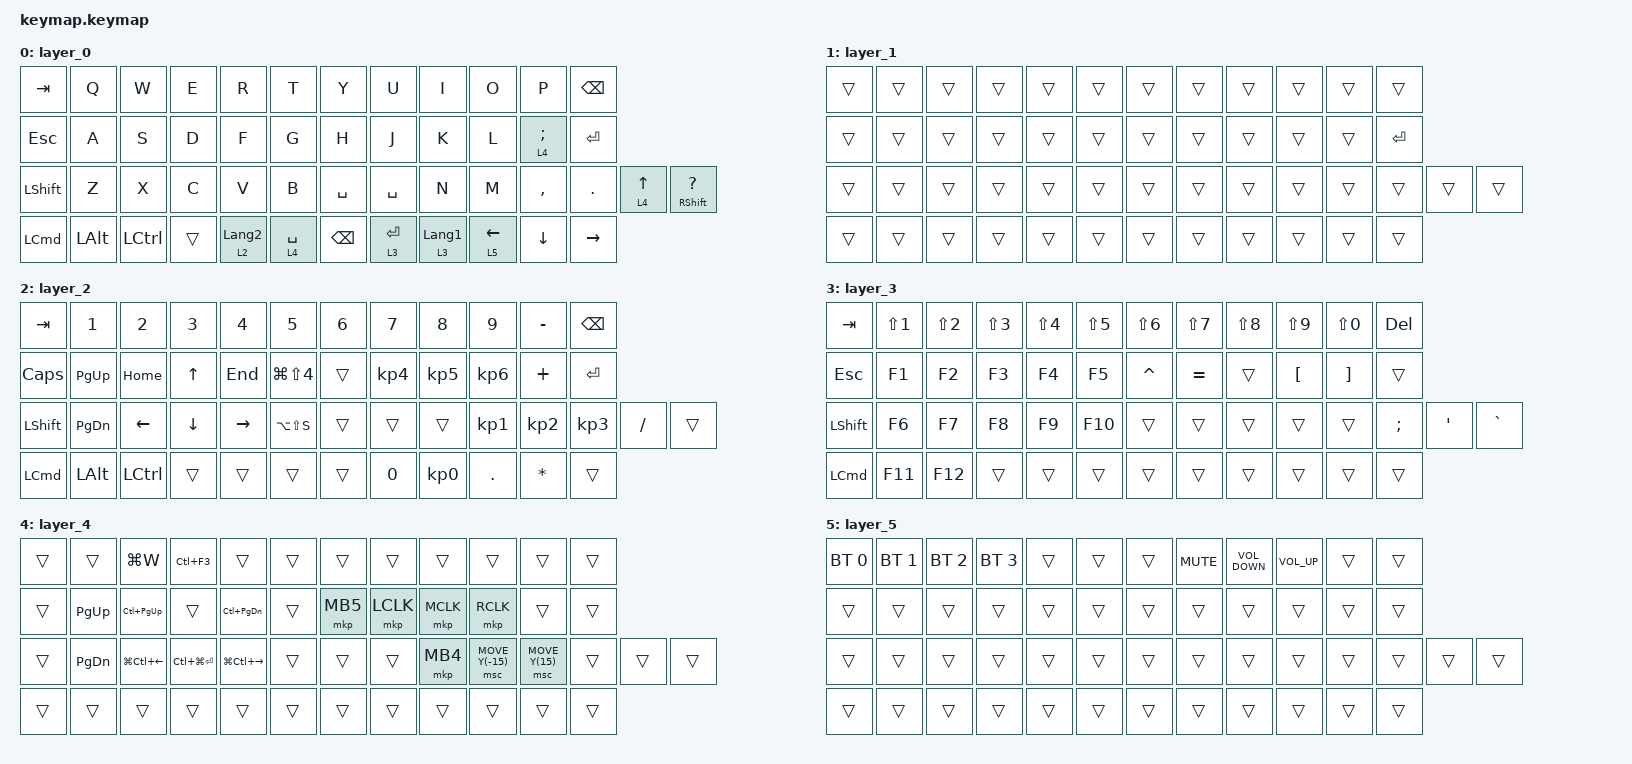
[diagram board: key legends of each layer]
#include <behaviors.dtsi>
#include <dt-bindings/zmk/bt.h>
#include <dt-bindings/zmk/keys.h>
#include <dt-bindings/zmk/pointing.h>

/ {
    combos {
        compatible = "zmk,combos";

        bt_clear {
            bindings = <&bt BT_CLR>;
            key-positions = <28 29>;
            layers = <2>;
        };

        left_Click {
            bindings = <&mkp LCLK>;
            key-positions = <19 20>;
        };

        right_Click {
            bindings = <&mkp RCLK>;
            key-positions = <20 21>;
        };

        middle_Click {
            bindings = <&mkp MCLK>;
            key-positions = <19 20 21>;
        };

        next_Click {
            bindings = <&mkp MB5>;
            key-positions = <33 34>;
        };

        prev_Click {
            bindings = <&mkp MB4>;
            key-positions = <34 35>;
        };
    };

    behaviors {
        layer_tap: layer_tap {
            compatible = "zmk,behavior-hold-tap";
            label = "LAYER_TAP";
            bindings = <&mo>, <&kp>;

            #binding-cells = <2>;
            tapping-term-ms = <200>;
        };

        MSC_kp: MSC_kp {
            compatible = "zmk,behavior-hold-tap";
            label = "MSC_KP";
            bindings = <&msc>, <&kp>;

            #binding-cells = <2>;
            tapping-term-ms = <200>;
        };
    };

    keymap {
        compatible = "zmk,keymap";

        layer_0 {
            bindings = <
&kp TAB           &kp Q         &kp W      &kp E   &kp R                    &kp T               &kp Y          &kp U               &kp I                    &kp O              &kp P                   &kp BSPC
&kp ESC           &kp A         &kp S      &kp D   &kp F                    &kp G               &kp H          &kp J               &kp K                    &kp L              &layer_tap 4 SEMICOLON  &kp ENTER
&kp LSHFT         &kp Z         &kp X      &kp C   &kp V                    &kp B               &kp SPACE      &kp SPACE           &kp N                    &kp M              &kp COMMA               &kp DOT          &layer_tap 4 UP_ARROW  &mt RSHFT QUESTION
&kp LEFT_COMMAND  &kp LEFT_ALT  &kp LCTRL  &trans  &layer_tap 2 LANGUAGE_2  &layer_tap 4 SPACE  &kp BACKSPACE  &layer_tap 3 ENTER  &layer_tap 3 LANGUAGE_1  &layer_tap 5 LEFT  &kp DOWN_ARROW          &kp RIGHT_ARROW
            >;
        };

        layer_1 {
            bindings = <
&trans  &trans  &trans  &trans  &trans  &trans  &trans  &trans  &trans  &trans  &trans  &trans
&trans  &trans  &trans  &trans  &trans  &trans  &trans  &trans  &trans  &trans  &trans  &kp ENTER
&trans  &trans  &trans  &trans  &trans  &trans  &trans  &trans  &trans  &trans  &trans  &trans     &trans  &trans
&trans  &trans  &trans  &trans  &trans  &trans  &trans  &trans  &trans  &trans  &trans  &trans
            >;
        };

        layer_2 {
            bindings = <
&kp TAB           &kp NUMBER_1  &kp NUMBER_2      &kp NUMBER_3    &kp NUMBER_4  &kp NUMBER_5          &kp NUMBER_6  &kp N7        &kp N8     &kp N9     &kp MINUS     &kp BACKSPACE
&kp CAPS          &kp PG_UP     &kp HOME          &kp UP_ARROW    &kp END       &kp LG(LS(NUMBER_4))  &trans        &kp KP_N4     &kp KP_N5  &kp KP_N6  &kp PLUS      &kp ENTER
&kp LEFT_SHIFT    &kp PG_DN     &kp LEFT_ARROW    &kp DOWN_ARROW  &kp RIGHT     &kp LA(LS(S))         &trans        &trans        &trans     &kp KP_N1  &kp KP_N2     &kp KP_N3      &kp SLASH  &trans
&kp LEFT_COMMAND  &kp LEFT_ALT  &kp LEFT_CONTROL  &trans          &trans        &trans                &trans        &kp NUMBER_0  &kp KP_N0  &kp DOT    &kp ASTERISK  &trans
            >;
        };

        layer_3 {
            bindings = <
&kp TAB           &kp LS(N1)  &kp LS(N2)  &kp LS(N3)  &kp LS(N4)  &kp LS(N5)  &kp LS(N6)  &kp LS(N7)  &kp LS(N8)  &kp LS(N9)        &kp LS(N0)         &kp DELETE
&kp ESCAPE        &kp F1      &kp F2      &kp F3      &kp F4      &kp F5      &kp CARET   &kp EQUAL   &trans      &kp LEFT_BRACKET  &kp RIGHT_BRACKET  &trans
&kp LEFT_SHIFT    &kp F6      &kp F7      &kp F8      &kp F9      &kp F10     &trans      &trans      &trans      &trans            &trans             &kp SEMICOLON  &kp SINGLE_QUOTE  &kp GRAVE
&kp LEFT_COMMAND  &kp F11     &kp F12     &trans      &trans      &trans      &trans      &trans      &trans      &trans            &trans             &trans
            >;
        };

        layer_4 {
            bindings = <
&trans  &trans         &kp LG(W)         &kp LC(F3)       &trans             &trans  &trans    &trans     &trans     &trans            &trans           &trans
&trans  &kp PAGE_UP    &kp LC(PG_UP)     &trans           &kp LC(PAGE_DOWN)  &trans  &mkp MB5  &mkp LCLK  &mkp MCLK  &mkp RCLK         &trans           &trans
&trans  &kp PAGE_DOWN  &kp LG(LC(LEFT))  &kp LC(LG(RET))  &kp LG(LC(RIGHT))  &trans  &trans    &trans     &mkp MB4   &msc MOVE_Y(-15)  &msc MOVE_Y(15)  &trans  &trans  &trans
&trans  &trans         &trans            &trans           &trans             &trans  &trans    &trans     &trans     &trans            &trans           &trans
            >;
        };

        layer_5 {
            bindings = <
&bt BT_SEL 0  &bt BT_SEL 1  &bt BT_SEL 2  &bt BT_SEL 3  &trans  &trans  &trans  &kp K_MUTE  &kp C_VOLUME_DOWN  &kp C_VOLUME_UP  &trans  &trans
&trans        &trans        &trans        &trans        &trans  &trans  &trans  &trans      &trans             &trans           &trans  &trans
&trans        &trans        &trans        &trans        &trans  &trans  &trans  &trans      &trans             &trans           &trans  &trans  &trans  &trans
&trans        &trans        &trans        &trans        &trans  &trans  &trans  &trans      &trans             &trans           &trans  &trans
            >;
        };
    };
};
